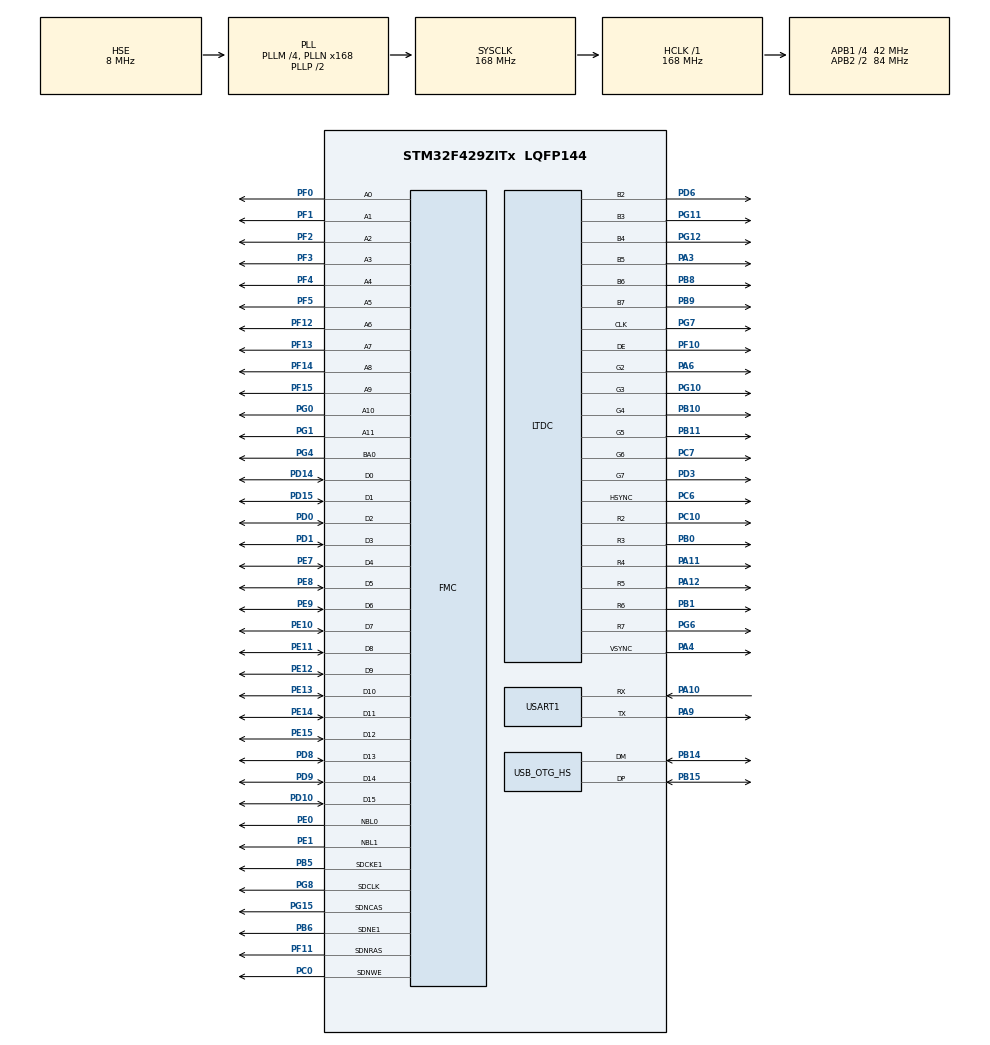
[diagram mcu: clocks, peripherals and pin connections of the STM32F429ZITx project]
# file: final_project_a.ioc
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LTDC.Layers=0
Mcu.Family=STM32F4
Mcu.Name=STM32F429ZITx
Mcu.Package=LQFP144
NVIC.OTG_HS_IRQn=true\:0\:0\:false\:false\:true\:true\:true\:true
NVIC.PriorityGroup=NVIC_PRIORITYGROUP_4
PA10.Mode=Asynchronous
PA10.Signal=USART1_RX
PA11.Mode=RGB666
PA11.Signal=LTDC_R4
PA12.Mode=RGB666
PA12.Signal=LTDC_R5
PA13.Mode=Serial_Wire
PA13.Signal=SYS_JTMS-SWDIO
PA14.Mode=Serial_Wire
PA14.Signal=SYS_JTCK-SWCLK
PA3.Mode=RGB666
PA3.Signal=LTDC_B5
PA4.Mode=RGB666
PA4.Signal=LTDC_VSYNC
PA6.Mode=RGB666
PA6.Signal=LTDC_G2
PA9.Mode=Asynchronous
PA9.Signal=USART1_TX
PB0.Mode=RGB666
PB0.Signal=LTDC_R3
PB1.Mode=RGB666
PB1.Signal=LTDC_R6
PB10.Mode=RGB666
PB10.Signal=LTDC_G4
PB11.Mode=RGB666
PB11.Signal=LTDC_G5
PB14.Mode=Device_Only_FS
PB14.Signal=USB_OTG_HS_DM
PB15.Mode=Device_Only_FS
PB15.Signal=USB_OTG_HS_DP
PB5.Mode=SdramChipSelect2_1
PB5.Signal=FMC_SDCKE1
PB6.Mode=SdramChipSelect2_1
PB6.Signal=FMC_SDNE1
PB8.Mode=RGB666
PB8.Signal=LTDC_B6
PB9.Mode=RGB666
PB9.Signal=LTDC_B7
PC0.Signal=FMC_SDNWE
PC10.Mode=RGB666
PC10.Signal=LTDC_R2
PC6.Mode=RGB666
PC6.Signal=LTDC_HSYNC
PC7.Mode=RGB666
PC7.Signal=LTDC_G6
PD0.Signal=FMC_D2_DA2
PD1.Signal=FMC_D3_DA3
PD10.Signal=FMC_D15_DA15
PD14.Signal=FMC_D0_DA0
PD15.Signal=FMC_D1_DA1
PD3.Mode=RGB666
PD3.Signal=LTDC_G7
PD6.Mode=RGB666
PD6.Signal=LTDC_B2
PD8.Signal=FMC_D13_DA13
PD9.Signal=FMC_D14_DA14
PE0.Signal=FMC_NBL0
PE1.Signal=FMC_NBL1
PE10.Signal=FMC_D7_DA7
PE11.Signal=FMC_D8_DA8
PE12.Signal=FMC_D9_DA9
PE13.Signal=FMC_D10_DA10
PE14.Signal=FMC_D11_DA11
PE15.Signal=FMC_D12_DA12
PE7.Signal=FMC_D4_DA4
PE8.Signal=FMC_D5_DA5
PE9.Signal=FMC_D6_DA6
PF0.Signal=FMC_A0
PF1.Signal=FMC_A1
PF10.Mode=RGB666
PF10.Signal=LTDC_DE
PF11.Signal=FMC_SDNRAS
PF12.Signal=FMC_A6
PF13.Signal=FMC_A7
PF14.Signal=FMC_A8
PF15.Signal=FMC_A9
PF2.Signal=FMC_A2
PF3.Signal=FMC_A3
PF4.Signal=FMC_A4
PF5.Signal=FMC_A5
PG0.Signal=FMC_A10
PG1.Signal=FMC_A11
PG10.Mode=RGB666
PG10.Signal=LTDC_G3
PG11.Mode=RGB666
PG11.Signal=LTDC_B3
PG12.Mode=RGB666
PG12.Signal=LTDC_B4
PG15.Signal=FMC_SDNCAS
PG4.Signal=FMC_A14_BA0
PG6.Mode=RGB666
PG6.Signal=LTDC_R7
PG7.Mode=RGB666
PG7.Signal=LTDC_CLK
PG8.Signal=FMC_SDCLK
PH0/OSC_IN.Mode=HSE-External-Oscillator
PH0/OSC_IN.Signal=RCC_OSC_IN
PH1/OSC_OUT.Mode=HSE-External-Oscillator
PH1/OSC_OUT.Signal=RCC_OSC_OUT
ProjectManager.HeapSize=0x200
ProjectManager.StackSize=0x400
ProjectManager.TargetToolchain=STM32CubeIDE
RCC.48MHZClocksFreq_Value=48000000
RCC.AHBFreq_Value=168000000
RCC.APB1CLKDivider=RCC_HCLK_DIV4
RCC.APB1Freq_Value=42000000
RCC.APB1TimFreq_Value=84000000
RCC.APB2CLKDivider=RCC_HCLK_DIV2
RCC.APB2Freq_Value=84000000
RCC.APB2TimFreq_Value=168000000
RCC.CortexFreq_Value=168000000
RCC.HCLKFreq_Value=168000000
RCC.HSE_VALUE=8000000
RCC.HSI_VALUE=16000000
RCC.LSE_VALUE=32768
RCC.PLLM=4
RCC.PLLN=168
RCC.PLLQ=7
RCC.PLLSAIN=50
RCC.SYSCLKFreq_VALUE=168000000
RCC.SYSCLKSource=RCC_SYSCLKSOURCE_PLLCLK
RCC.VCOOutputFreq_Value=336000000
SH.FMC_A0.0=FMC_A0,12b-sda1
SH.FMC_A1.0=FMC_A1,12b-sda1
SH.FMC_A10.0=FMC_A10,12b-sda1
SH.FMC_A11.0=FMC_A11,12b-sda1
SH.FMC_A14_BA0.0=FMC_BA0,TwoSdramBanks1
SH.FMC_A2.0=FMC_A2,12b-sda1
SH.FMC_A3.0=FMC_A3,12b-sda1
SH.FMC_A4.0=FMC_A4,12b-sda1
SH.FMC_A5.0=FMC_A5,12b-sda1
SH.FMC_A6.0=FMC_A6,12b-sda1
SH.FMC_A7.0=FMC_A7,12b-sda1
SH.FMC_A8.0=FMC_A8,12b-sda1
SH.FMC_A9.0=FMC_A9,12b-sda1
SH.FMC_D0_DA0.0=FMC_D0,sd-16b-d1
SH.FMC_D10_DA10.0=FMC_D10,sd-16b-d1
SH.FMC_D11_DA11.0=FMC_D11,sd-16b-d1
SH.FMC_D12_DA12.0=FMC_D12,sd-16b-d1
SH.FMC_D13_DA13.0=FMC_D13,sd-16b-d1
SH.FMC_D14_DA14.0=FMC_D14,sd-16b-d1
SH.FMC_D15_DA15.0=FMC_D15,sd-16b-d1
SH.FMC_D1_DA1.0=FMC_D1,sd-16b-d1
SH.FMC_D2_DA2.0=FMC_D2,sd-16b-d1
SH.FMC_D3_DA3.0=FMC_D3,sd-16b-d1
SH.FMC_D4_DA4.0=FMC_D4,sd-16b-d1
SH.FMC_D5_DA5.0=FMC_D5,sd-16b-d1
SH.FMC_D6_DA6.0=FMC_D6,sd-16b-d1
SH.FMC_D7_DA7.0=FMC_D7,sd-16b-d1
SH.FMC_D8_DA8.0=FMC_D8,sd-16b-d1
SH.FMC_D9_DA9.0=FMC_D9,sd-16b-d1
SH.FMC_NBL0.0=FMC_NBL0,Sd2ByteEnable1
SH.FMC_NBL1.0=FMC_NBL1,Sd2ByteEnable1
SH.FMC_SDCLK.0=FMC_SDCLK,12b-sda1
SH.FMC_SDNCAS.0=FMC_SDNCAS,12b-sda1
SH.FMC_SDNRAS.0=FMC_SDNRAS,12b-sda1
SH.FMC_SDNWE.0=FMC_SDNWE,12b-sda1
USART1.VirtualMode=VM_ASYNC
USB_DEVICE.CLASS_NAME_HS=CDC
USB_DEVICE.VirtualMode-CDC_HS=Cdc
USB_DEVICE.VirtualModeHS=Cdc_HS
USB_OTG_HS.VirtualMode-Device_Only_FS=Device_Only_FS
VP_DMA2D_VS_DMA2D.Mode=DMA2D_Activate
VP_USB_DEVICE_VS_USB_DEVICE_CDC_HS.Mode=CDC_HS
board=STM32F429I-DISC1

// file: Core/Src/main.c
/* USER CODE BEGIN Header */
/**
  ******************************************************************************
  * @file           : main.c
  * @brief          : Main program body
  ******************************************************************************
  * @attention
  *
  * <h2><center>&copy; Copyright (c) 2022 STMicroelectronics.
  * All rights reserved.</center></h2>
  *
  * This software component is licensed by ST under Ultimate Liberty license
  * SLA0044, the "License"; You may not use this file except in compliance with
  * the License. You may obtain a copy of the License at:
  *                             www.st.com/SLA0044
  *
  ******************************************************************************
  */
/* USER CODE END Header */
#include "main.h"
#include "usb_device.h"

/* USER CODE BEGIN PD */
#define FB1_ADDR                               ((uint32_t)0xD0000000)
#define DISP_WIDTH        640
#define DISP_HEIGHT       480
#define FB_SIZE                         (DISP_WIDTH * DISP_HEIGHT * 2)
#define FB2_ADDR                        (FB1_ADDR + FB_SIZE)

#define REFRESH_COUNT      ((uint32_t)683)  /* SDRAM refresh counter old setting */
#define SDRAM_TIMEOUT      ((uint32_t)0xFFFF)
/**
 * @brief FMC SDRAM Mode definition register defines
 */
#define SDRAM_MODEREG_BURST_LENGTH_1       ((uint16_t)0x0000)
#define SDRAM_MODEREG_BURST_LENGTH_2       ((uint16_t)0x0001)
#define SDRAM_MODEREG_BURST_LENGTH_4       ((uint16_t)0x0002)
#define SDRAM_MODEREG_BURST_LENGTH_8       ((uint16_t)0x0004)
#define SDRAM_MODEREG_BURST_TYPE_SEQUENTIAL   ((uint16_t)0x0000)
#define SDRAM_MODEREG_BURST_TYPE_INTERLEAVED   ((uint16_t)0x0008)
#define SDRAM_MODEREG_CAS_LATENCY_2       ((uint16_t)0x0020)
#define SDRAM_MODEREG_CAS_LATENCY_3       ((uint16_t)0x0030)
#define SDRAM_MODEREG_OPERATING_MODE_STANDARD  ((uint16_t)0x0000)
#define SDRAM_MODEREG_WRITEBURST_MODE_PROGRAMMED ((uint16_t)0x0000)
#define SDRAM_MODEREG_WRITEBURST_MODE_SINGLE   ((uint16_t)0x0200)
/* USER CODE END PD */

DMA2D_HandleTypeDef hdma2d;

LTDC_HandleTypeDef hltdc;

UART_HandleTypeDef huart1;

SDRAM_HandleTypeDef hsdram1;

void SystemClock_Config(void);
static void MX_GPIO_Init(void);
static void MX_DMA2D_Init(void);
static void MX_FMC_Init(void);
static void MX_LTDC_Init(void);
static void MX_USART1_UART_Init(void);

/* USER CODE BEGIN 0 */
char *data = "hello there \n";
char buffer[64];
//char command[64];

/* USER CODE END 0 */

int main(void)
{

  /* MCU Configuration--------------------------------------------------------*/

  /* Reset of all peripherals, Initializes the Flash interface and the Systick. */
  HAL_Init();

  /* Configure the system clock */
  SystemClock_Config();

  /* Initialize all configured peripherals */
  MX_GPIO_Init();
  MX_DMA2D_Init();
  MX_FMC_Init();
  MX_LTDC_Init();
  MX_USART1_UART_Init();
  MX_USB_DEVICE_Init();
  /* USER CODE BEGIN 2 */
  set_background(0x0000);
  /* USER CODE END 2 */

  /* Infinite loop */
  /* USER CODE BEGIN WHILE */
  while (1)
  {

	  	 read_command();  //<<<<<<<<****************EXECUTES_RECEIVED_COMMANDS****************//

    /* USER CODE END WHILE */

  }
}

void SystemClock_Config(void)
{
  RCC_OscInitTypeDef RCC_OscInitStruct = {0};
  RCC_ClkInitTypeDef RCC_ClkInitStruct = {0};

  /** Configure the main internal regulator output voltage
  */
  __HAL_RCC_PWR_CLK_ENABLE();
  __HAL_PWR_VOLTAGESCALING_CONFIG(PWR_REGULATOR_VOLTAGE_SCALE1);

  /** Initializes the RCC Oscillators according to the specified parameters
  * in the RCC_OscInitTypeDef structure.
  */
  RCC_OscInitStruct.OscillatorType = RCC_OSCILLATORTYPE_HSE;
  RCC_OscInitStruct.HSEState = RCC_HSE_ON;
  RCC_OscInitStruct.PLL.PLLState = RCC_PLL_ON;
  RCC_OscInitStruct.PLL.PLLSource = RCC_PLLSOURCE_HSE;
  RCC_OscInitStruct.PLL.PLLM = 4;
  RCC_OscInitStruct.PLL.PLLN = 168;
  RCC_OscInitStruct.PLL.PLLP = RCC_PLLP_DIV2;
  RCC_OscInitStruct.PLL.PLLQ = 7;
  if (HAL_RCC_OscConfig(&RCC_OscInitStruct) != HAL_OK)
  {
    Error_Handler();
  }

  /** Initializes the CPU, AHB and APB buses clocks
  */
  RCC_ClkInitStruct.ClockType = RCC_CLOCKTYPE_HCLK|RCC_CLOCKTYPE_SYSCLK
                              |RCC_CLOCKTYPE_PCLK1|RCC_CLOCKTYPE_PCLK2;
  RCC_ClkInitStruct.SYSCLKSource = RCC_SYSCLKSOURCE_PLLCLK;
  RCC_ClkInitStruct.AHBCLKDivider = RCC_SYSCLK_DIV1;
  RCC_ClkInitStruct.APB1CLKDivider = RCC_HCLK_DIV4;
  RCC_ClkInitStruct.APB2CLKDivider = RCC_HCLK_DIV2;

  if (HAL_RCC_ClockConfig(&RCC_ClkInitStruct, FLASH_LATENCY_5) != HAL_OK)
  {
    Error_Handler();
  }
}

static void MX_DMA2D_Init(void)
{

  hdma2d.Instance = DMA2D;
  hdma2d.Init.Mode = DMA2D_M2M;
  hdma2d.Init.ColorMode = DMA2D_OUTPUT_ARGB8888;
  hdma2d.Init.OutputOffset = 0;
  hdma2d.LayerCfg[1].InputOffset = 0;
  hdma2d.LayerCfg[1].InputColorMode = DMA2D_INPUT_ARGB8888;
  hdma2d.LayerCfg[1].AlphaMode = DMA2D_NO_MODIF_ALPHA;
  hdma2d.LayerCfg[1].InputAlpha = 0;
  if (HAL_DMA2D_Init(&hdma2d) != HAL_OK)
  {
    Error_Handler();
  }
  if (HAL_DMA2D_ConfigLayer(&hdma2d, 1) != HAL_OK)
  {
    Error_Handler();
  }

}

static void MX_LTDC_Init(void)
{

  LTDC_LayerCfgTypeDef pLayerCfg = {0};

  hltdc.Instance = LTDC;
  hltdc.Init.HSPolarity = LTDC_HSPOLARITY_AL;
  hltdc.Init.VSPolarity = LTDC_VSPOLARITY_AL;
  hltdc.Init.DEPolarity = LTDC_DEPOLARITY_AL;
  hltdc.Init.PCPolarity = LTDC_PCPOLARITY_IPC;
  hltdc.Init.HorizontalSync = 7;
  hltdc.Init.VerticalSync = 3;
  hltdc.Init.AccumulatedHBP = 14;
  hltdc.Init.AccumulatedVBP = 5;
  hltdc.Init.AccumulatedActiveW = 654;
  hltdc.Init.AccumulatedActiveH = 485;
  hltdc.Init.TotalWidth = 660;
  hltdc.Init.TotalHeigh = 487;
  hltdc.Init.Backcolor.Blue = 0;
  hltdc.Init.Backcolor.Green = 0;
  hltdc.Init.Backcolor.Red = 0;
  if (HAL_LTDC_Init(&hltdc) != HAL_OK)
  {
    Error_Handler();
  }
  pLayerCfg.WindowX0 = 0;
  pLayerCfg.WindowX1 = 0;
  pLayerCfg.WindowY0 = 0;
  pLayerCfg.WindowY1 = 0;
  pLayerCfg.PixelFormat = LTDC_PIXEL_FORMAT_ARGB8888;
  pLayerCfg.Alpha = 0;
  pLayerCfg.Alpha0 = 0;
  pLayerCfg.BlendingFactor1 = LTDC_BLENDING_FACTOR1_CA;
  pLayerCfg.BlendingFactor2 = LTDC_BLENDING_FACTOR2_CA;
  pLayerCfg.FBStartAdress = 0;
  pLayerCfg.ImageWidth = 0;
  pLayerCfg.ImageHeight = 0;
  pLayerCfg.Backcolor.Blue = 0;
  pLayerCfg.Backcolor.Green = 0;
  pLayerCfg.Backcolor.Red = 0;
  if (HAL_LTDC_ConfigLayer(&hltdc, &pLayerCfg, 0) != HAL_OK)
  {
    Error_Handler();
  }

}

static void MX_USART1_UART_Init(void)
{

  huart1.Instance = USART1;
  huart1.Init.BaudRate = 115200;
  huart1.Init.WordLength = UART_WORDLENGTH_8B;
  huart1.Init.StopBits = UART_STOPBITS_1;
  huart1.Init.Parity = UART_PARITY_NONE;
  huart1.Init.Mode = UART_MODE_TX_RX;
  huart1.Init.HwFlowCtl = UART_HWCONTROL_NONE;
  huart1.Init.OverSampling = UART_OVERSAMPLING_16;
  if (HAL_UART_Init(&huart1) != HAL_OK)
  {
    Error_Handler();
  }

}

/* FMC initialization function */
static void MX_FMC_Init(void)
{

  FMC_SDRAM_TimingTypeDef SdramTiming = {0};

  /** Perform the SDRAM1 memory initialization sequence
  */
  hsdram1.Instance = FMC_SDRAM_DEVICE;
  /* hsdram1.Init */
  hsdram1.Init.SDBank = FMC_SDRAM_BANK2;
  hsdram1.Init.ColumnBitsNumber = FMC_SDRAM_COLUMN_BITS_NUM_8;
  hsdram1.Init.RowBitsNumber = FMC_SDRAM_ROW_BITS_NUM_12;
  hsdram1.Init.MemoryDataWidth = FMC_SDRAM_MEM_BUS_WIDTH_16;
  hsdram1.Init.InternalBankNumber = FMC_SDRAM_INTERN_BANKS_NUM_2;
  hsdram1.Init.CASLatency = FMC_SDRAM_CAS_LATENCY_1;
  hsdram1.Init.WriteProtection = FMC_SDRAM_WRITE_PROTECTION_DISABLE;
  hsdram1.Init.SDClockPeriod = FMC_SDRAM_CLOCK_DISABLE;
  hsdram1.Init.ReadBurst = FMC_SDRAM_RBURST_DISABLE;
  hsdram1.Init.ReadPipeDelay = FMC_SDRAM_RPIPE_DELAY_0;
  /* SdramTiming */
  SdramTiming.LoadToActiveDelay = 16;
  SdramTiming.ExitSelfRefreshDelay = 16;
  SdramTiming.SelfRefreshTime = 16;
  SdramTiming.RowCycleDelay = 16;
  SdramTiming.WriteRecoveryTime = 16;
  SdramTiming.RPDelay = 16;
  SdramTiming.RCDDelay = 16;

  if (HAL_SDRAM_Init(&hsdram1, &SdramTiming) != HAL_OK)
  {
    Error_Handler( );
  }

  /* USER CODE BEGIN FMC_Init 2 */
  	 SDRAM_InitSequence();
  /* USER CODE END FMC_Init 2 */
}

static void MX_GPIO_Init(void)
{

  /* GPIO Ports Clock Enable */
  __HAL_RCC_GPIOF_CLK_ENABLE();
  __HAL_RCC_GPIOH_CLK_ENABLE();
  __HAL_RCC_GPIOC_CLK_ENABLE();
  __HAL_RCC_GPIOA_CLK_ENABLE();
  __HAL_RCC_GPIOB_CLK_ENABLE();
  __HAL_RCC_GPIOG_CLK_ENABLE();
  __HAL_RCC_GPIOE_CLK_ENABLE();
  __HAL_RCC_GPIOD_CLK_ENABLE();

}

/* USER CODE BEGIN 4 */
void SDRAM_InitSequence(void) {

	FMC_SDRAM_CommandTypeDef FMC_SDRAMCommandStructure;
	uint32_t tmpr = 0;

	/* Step 1 --------------------------------------------------------------------*/
	/* Configure a clock configuration enable command */
	FMC_SDRAMCommandStructure.CommandMode = FMC_SDRAM_CMD_CLK_ENABLE;
	FMC_SDRAMCommandStructure.CommandTarget = FMC_SDRAM_CMD_TARGET_BANK2;
	FMC_SDRAMCommandStructure.AutoRefreshNumber = 1;
	FMC_SDRAMCommandStructure.ModeRegisterDefinition = 0;
	while( (HAL_SDRAM_GetState(&hsdram1) & HAL_SDRAM_STATE_BUSY) );	// Check Busy Flag before sending command
	HAL_SDRAM_SendCommand(&hsdram1, &FMC_SDRAMCommandStructure, SDRAM_TIMEOUT);

	/* Step 2 --------------------------------------------------------------------*/
	/* Configure a PALL (precharge all) command */
	FMC_SDRAMCommandStructure.CommandMode = FMC_SDRAM_CMD_PALL;
	FMC_SDRAMCommandStructure.CommandTarget = FMC_SDRAM_CMD_TARGET_BANK2;
	FMC_SDRAMCommandStructure.AutoRefreshNumber = 1;
	FMC_SDRAMCommandStructure.ModeRegisterDefinition = 0;
	while( (HAL_SDRAM_GetState(&hsdram1) & HAL_SDRAM_STATE_BUSY) );	// Check Busy Flag before sending command
	HAL_SDRAM_SendCommand(&hsdram1, &FMC_SDRAMCommandStructure, SDRAM_TIMEOUT);

	/* Step 3 --------------------------------------------------------------------*/
	/* Configure a Auto-Refresh command */
	FMC_SDRAMCommandStructure.CommandMode = FMC_SDRAM_CMD_AUTOREFRESH_MODE;
	FMC_SDRAMCommandStructure.CommandTarget = FMC_SDRAM_CMD_TARGET_BANK2;
	FMC_SDRAMCommandStructure.AutoRefreshNumber = 4;
	FMC_SDRAMCommandStructure.ModeRegisterDefinition = 0;
	while( (HAL_SDRAM_GetState(&hsdram1) & HAL_SDRAM_STATE_BUSY) );	// Check Busy Flag before sending command
	HAL_SDRAM_SendCommand(&hsdram1, &FMC_SDRAMCommandStructure, SDRAM_TIMEOUT);

	/* Step 4 --------------------------------------------------------------------*/
	/* Program the external memory mode register */
	tmpr = (uint32_t)	SDRAM_MODEREG_BURST_LENGTH_1     |
					SDRAM_MODEREG_BURST_TYPE_SEQUENTIAL  |
					SDRAM_MODEREG_CAS_LATENCY_3      |
					SDRAM_MODEREG_OPERATING_MODE_STANDARD |
					SDRAM_MODEREG_WRITEBURST_MODE_SINGLE;

	/* Step 5 --------------------------------------------------------------------*/
	/* Configure a load Mode register command*/
	FMC_SDRAMCommandStructure.CommandMode = FMC_SDRAM_CMD_LOAD_MODE;
	FMC_SDRAMCommandStructure.CommandTarget = FMC_SDRAM_CMD_TARGET_BANK2;
	FMC_SDRAMCommandStructure.AutoRefreshNumber = 1;
	FMC_SDRAMCommandStructure.ModeRegisterDefinition = tmpr;
	while( (HAL_SDRAM_GetState(&hsdram1) & HAL_SDRAM_STATE_BUSY) );	// Check Busy Flag before sending command
	HAL_SDRAM_SendCommand(&hsdram1, &FMC_SDRAMCommandStructure, SDRAM_TIMEOUT);

	/* Step 6 --------------------------------------------------------------------*/
	/* Set the refresh rate counter */
	/* (7.81 us x Freq) - 20 */
	/* Set the device refresh counter */
	while( (HAL_SDRAM_GetState(&hsdram1) & HAL_SDRAM_STATE_BUSY) );	// Check Busy Flag before sending command
	HAL_SDRAM_ProgramRefreshRate(&hsdram1, REFRESH_COUNT); // local

	while( (HAL_SDRAM_GetState(&hsdram1) & HAL_SDRAM_STATE_BUSY) );	// Check Busy Flag before returning
}

/* USER CODE END 4 */

void Error_Handler(void)
{
  __disable_irq();
  while (1)
  {
  }
}
